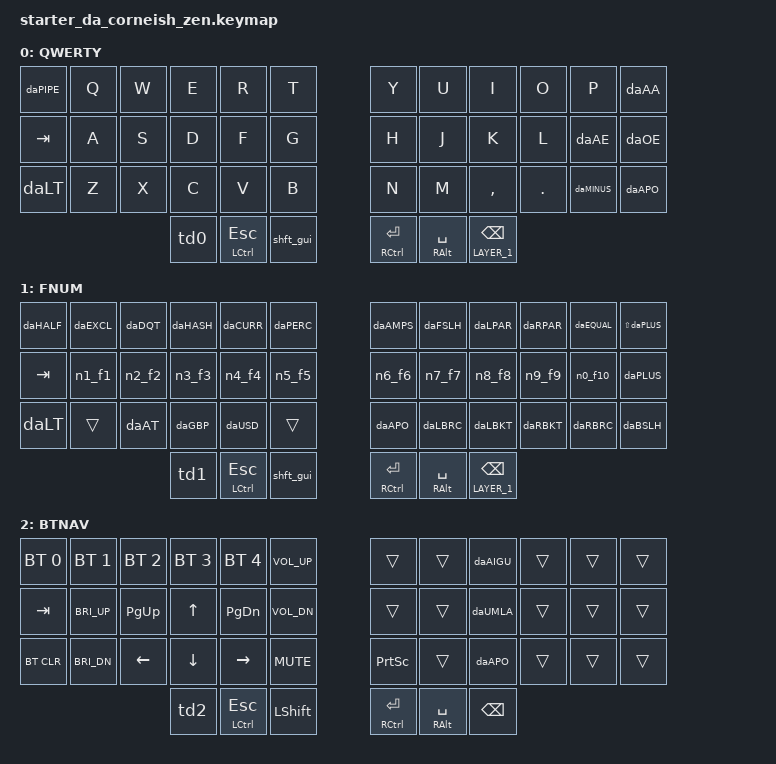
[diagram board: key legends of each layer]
/* vim: set ft=dts textwidth=0 nowrap :
 *
 * Based on the original layout by Darryl deHaan
 * Copyright (c) 2021 Darryl deHaan
 * SPDX-License-Identifier: MIT
 *
 * Modified by Thomas E. Hansen (CodingCellist)
 * Copyright (c) 2023 Thomas E. Hansen (CodingCellist)
 * SPDX-License-Identifier: MIT
 *
 */

#include <behaviors.dtsi>
#include "da.dtsi"
#include <dt-bindings/zmk/keys.h>
#include <dt-bindings/zmk/bt.h>

// LAYERS //

#define DEFAULT   0
#define LAYER_1   1
#define LAYER_2   2


// ZMK STUFF //

/ {
  chosen {
    zmk,matrix_transform = &default_transform;
    //zmk,matrix_transform = &five_column_transform;
  };
};


/ {
        // NEXT and PREV are defined as tap-dances, with one (1) tap meaning
        // "next layer" and two (2) taps meaning "previous layer". This is
        // similar to how some music players do single-button operation.
        // N.B.: care must be taken to make sure the NEXT and PREV mappings go
        // to the right layers and that they wrap around at the top and bottom
        // layers respectively. Additionaly, one must be careful to reference
        // the right tap-dances in their respective layers.
        behaviors {
            // NEXT and PREV for default layer
            td0: tap_dance_0 {
                    compatible = "zmk,behavior-tap-dance";
                    label = "TD_LAYER_0";
                    #binding-cells= <0>;
                    tapping-term-ms = <200>;
                    bindings = <&to LAYER_1>, <&to LAYER_2>;
                    //         ^ NEXT         ^ PREV
            };

            // NEXT and PREV for layer 1
            td1: tap_dance_1 {
                    compatible = "zmk,behavior-tap-dance";
                    label = "TD_LAYER_1";
                    #binding-cells= <0>;
                    tapping-term-ms = <200>;
                    bindings = <&to LAYER_2>, <&to DEFAULT>;
                    //         ^ NEXT         ^ PREV
            };

            // NEXT and PREV for layer 2
            td2: tap_dance_2 {
                    compatible = "zmk,behavior-tap-dance";
                    label = "TD_LAYER_2";
                    #binding-cells= <0>;
                    tapping-term-ms = <200>;
                    bindings = <&to DEFAULT>, <&to 1>;
                    //         ^ NEXT         ^ PREV
            };

            // 1-tap for LSHIFT, 2-tap for LGUI (both can be modifiers)
            shft_gui: td_lshft_lgui {
                    compatible = "zmk,behavior-tap-dance";
                    label = "TD_LSHFT_LGUI";
                    #binding-cells= <0>;
                    tapping-term-ms = <200>;
                    bindings = <&kp LSHFT>, <&kp LGUI>;
            };

            // 1-tap for the number '1', 2-tap for F1
            n1_f1: td_n1_f1 {
                    compatible = "zmk,behavior-tap-dance";
                    label = "TD_N1_F1";
                    #binding-cells= <0>;
                    tapping-term-ms = <200>;
                    bindings = <&kp N1>, <&kp F1>;
            };

            // 1-tap for the number '2', 2-tap for F2
            n2_f2: td_n2_f2 {
                    compatible = "zmk,behavior-tap-dance";
                    label = "TD_N2_F2";
                    #binding-cells= <0>;
                    tapping-term-ms = <200>;
                    bindings = <&kp N2>, <&kp F2>;
            };

            // 1-tap for the number '3', 2-tap for F3
            n3_f3: td_n3_f3 {
                    compatible = "zmk,behavior-tap-dance";
                    label = "TD_N3_F3";
                    #binding-cells= <0>;
                    tapping-term-ms = <200>;
                    bindings = <&kp N3>, <&kp F3>;
            };

            // 1-tap for the number '4', 2-tap for F4
            n4_f4: td_n4_f4 {
                    compatible = "zmk,behavior-tap-dance";
                    label = "TD_N4_F4";
                    #binding-cells= <0>;
                    tapping-term-ms = <200>;
                    bindings = <&kp N4>, <&kp F4>;
            };

            // 1-tap for the number '5', 2-tap for F5
            n5_f5: td_n5_f5 {
                    compatible = "zmk,behavior-tap-dance";
                    label = "TD_N5_F5";
                    #binding-cells= <0>;
                    tapping-term-ms = <200>;
                    bindings = <&kp N5>, <&kp F5>;
            };

            // 1-tap for the number '6', 2-tap for F6
            n6_f6: td_n6_f6 {
                    compatible = "zmk,behavior-tap-dance";
                    label = "TD_N6_F6";
                    #binding-cells= <0>;
                    tapping-term-ms = <200>;
                    bindings = <&kp N6>, <&kp F6>;
            };

            // 1-tap for the number '7', 2-tap for F7
            n7_f7: td_n7_f7 {
                    compatible = "zmk,behavior-tap-dance";
                    label = "TD_N7_F7";
                    #binding-cells= <0>;
                    tapping-term-ms = <200>;
                    bindings = <&kp N7>, <&kp F7>;
            };

            // 1-tap for the number '8', 2-tap for F8
            n8_f8: td_n8_f8 {
                    compatible = "zmk,behavior-tap-dance";
                    label = "TD_N8_F8";
                    #binding-cells= <0>;
                    tapping-term-ms = <200>;
                    bindings = <&kp N8>, <&kp F8>;
            };

            // 1-tap for the number '9', 2-tap for F9
            n9_f9: td_n9_f9 {
                    compatible = "zmk,behavior-tap-dance";
                    label = "TD_N9_F9";
                    #binding-cells= <0>;
                    tapping-term-ms = <200>;
                    bindings = <&kp N9>, <&kp F9>;
            };

            // 1-tap for the number '0', 2-tap for F10
            n0_f10: td_n0_f10 {
                    compatible = "zmk,behavior-tap-dance";
                    label = "TD_N0_F0";
                    #binding-cells= <0>;
                    tapping-term-ms = <200>;
                    bindings = <&kp N0>, <&kp F10>;
            };
        };

        keymap {
                compatible = "zmk,keymap";

                default_layer {
                        label = "QWERTY";
// -----------------------------------------------------------------------------------------
// | '|' |  Q  |  W  |  E  |  R  |  T  |   |  Y  |  U  |  I  |  O  |  P  |  Å  |
// | TAB |  A  |  S  |  D  |  F  |  G  |   |  H  |  J  |  K  |  L  |  Æ  |  Ø  |
// |  <  |  Z  |  X  |  C  |  V  |  B  |   |  N  |  M  |  ,  |  .  |  -  |  '  |
//              | NEXT |   ESC | LSHFT |   | ENTER | SPACE | BSPC |
//              | PREV | LCRTL |  LGUI |   | RCTRL | ALTGR | FNUM |
                        bindings = <
   &kp daPIPE &kp Q &kp W &kp E &kp R &kp T    &kp Y &kp U  &kp I     &kp O   &kp P       &kp daAA
   &kp TAB    &kp A &kp S &kp D &kp F &kp G    &kp H &kp J  &kp K     &kp L   &kp daAE    &kp daOE
   &kp daLT   &kp Z &kp X &kp C &kp V &kp B    &kp N &kp M  &kp COMMA &kp DOT &kp daMINUS &kp daAPO
             &td0  &mt LCTRL ESC  &shft_gui    &mt RCTRL ENTER  &mt RALT SPACE  &lt LAYER_1 BSPC
                        >;
                };

                layer_1 {
                        label = "FNUM";
// -----------------------------------------------------------------------------------------
// | '½' |   !  |   "  |   #  |   ¤  |   %  |    |  &   |  /   |  (   |  )   |   =   |  ?  |
// | TAB | 1/F1 | 2/F2 | 3/F3 | 4/F4 | 5/F5 |    | 6/F6 | 7/F7 | 8/F8 | 9/F9 | 0/F10 |  +  |
// |  <  |      |   @  |   £  |   $  |      |    |  '   |  {   |  [   |  ]   |  }    |  \  |
//                   | NEXT |   ESC | LSHFT |    | ENTER | SPACE | BSPC |
//                   | PREV | LCRTL |  LGUI |    | RCTRL | ALTGR | FNUM |
                        bindings = <
   &kp daHALF  &kp daEXCL  &kp daDQT  &kp daHASH  &kp daCURR  &kp daPERC    &kp daAMPS  &kp daFSLH  &kp daLPAR  &kp daRPAR  &kp daEQUAL &kp LS(daPLUS)
   &kp TAB     &n1_f1      &n2_f2     &n3_f3      &n4_f4      &n5_f5        &n6_f6      &n7_f7      &n8_f8      &n9_f9      &n0_f10     &kp daPLUS
   &kp daLT    &trans      &kp daAT   &kp daGBP   &kp daUSD   &trans        &kp daAPO   &kp daLBRC  &kp daLBKT  &kp daRBKT  &kp daRBRC  &kp daBSLH
                                         &td1  &mt LCTRL ESC  &shft_gui     &mt RCTRL ENTER  &mt RALT SPACE  &lt LAYER_1 BSPC
                        >;
                };

                layer_2 {
                        label = "BTNAV";
// -----------------------------------------------------------------------------------------
// |  BT1 | BT2 | BT3 | BT4 | BT5 | VOL+ |   |       |     |  ́   |     |     |     |
// |  TAB | BL+ | PGU |  ↑  | PGD | VOL- |   |       |     |  ̈   |     |     |     |
// | BTCLR| BL- |  ←  |  ↓  |  →  | MUTE |   | PRTSC |     |  '  |     |     |     |
//                | NEXT |   ESC | LSHFT |   | ENT   | SPC   | BSPC |
//                | PREV | LCRTL |       |   | RCTRL | ALTGR |      |
                        bindings = <
   &bt BT_SEL 0 &bt BT_SEL 1 &bt BT_SEL 2 &bt BT_SEL 3 &bt BT_SEL 4 &kp C_VOL_UP    &trans    &trans &kp daAIGU &trans &trans &trans
   &kp TAB      &kp C_BRI_UP &kp PG_UP    &kp UP       &kp PG_DN    &kp C_VOL_DN    &trans    &trans &kp daUMLA &trans &trans &trans
   &bt BT_CLR   &kp C_BRI_DN &kp LEFT     &kp DOWN     &kp RIGHT    &kp C_MUTE      &kp PSCRN &trans &kp daAPO  &trans &trans &trans
                                                  &td2  &mt LCTRL ESC  &kp LSHFT    &mt RCTRL ENTER  &mt RALT SPACE  &kp BSPC
                        >;
                };

        };
};

